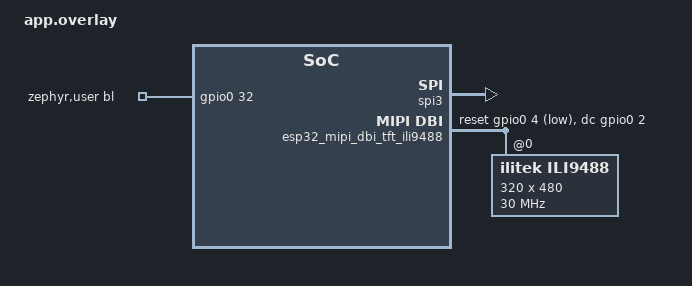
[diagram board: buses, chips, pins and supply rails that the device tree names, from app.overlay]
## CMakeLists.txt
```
cmake_minimum_required(VERSION 3.20.0)

# Add this line so we do not need to pass the board name again and again during build
set(BOARD doit_esp32_devkit_v1/esp32/procpu)

find_package(Zephyr)
project(esp32_spi_display)
target_sources(app PRIVATE src/main.c)
```

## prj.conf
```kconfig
CONFIG_SPI=y
CONFIG_GPIO=y
CONFIG_CONSOLE=y
CONFIG_SERIAL=y
CONFIG_PRINTK=y
CONFIG_DISPLAY=y
CONFIG_LOG=y
CONFIG_DISPLAY_LOG_LEVEL_DBG=n
```

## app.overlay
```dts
/*
 * Copyright (c) 2020 Teslabs Engineering S.L.
 *
 * SPDX-License-Identifier: Apache-2.0
 */


#include <zephyr/dt-bindings/display/panel.h>

&spi2 {
    status = "disabled";
};

&spi3 {
    pinctrl-0 = <&spim3_default>;
    pinctrl-names = "default";
    cs-gpios = <&gpio0 15 GPIO_ACTIVE_LOW>;
    status = "okay";
};


&{/} {
    zephyr,user {
        bl-gpios = <&gpio0 32 GPIO_ACTIVE_HIGH>;
    };

    esp32_mipi_dbi_tft_ili9488 {
        compatible = "zephyr,mipi-dbi-spi";
        
        dc-gpios =    <&gpio0 2 GPIO_ACTIVE_HIGH>;
        reset-gpios = <&gpio0 4 GPIO_ACTIVE_LOW>;
        spi-dev = <&spi3>;
        write-only;
        #address-cells = <1>;
        #size-cells = <0>;    
        
        ili9488: display@0 {
            compatible = "ilitek,ili9488";
            
            mipi-max-frequency = <30000000>;
            reg = <0>;
            pixel-format = <PANEL_PIXEL_FORMAT_RGB_888>;
            width = <320>;
            height = <480>;
            rotation = <0>;
            frmctr1 = [a0 11];
            pwctrl1 = [17 15];
            pwctrl2 = [41];
            pgamctrl = [00 03 09 08 16 0a 3f 78 4c 09 0a 08 16 1a 0f];
            ngamctrl = [00 16 19 03 0f 05 32 45 46 04 0e 0d 35 37 0f];
        };
    };    
};
```

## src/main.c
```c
/*
 * Copyright (c) Vivek Yadav <zephyr.ninja23@gmail.com>
 *
 * SPDX-License-Identifier: Apache-2.0
 */

/**********************************
| TFT           | Esp32           |
|---------------|-----------------|
| Vcc           | 3v              |
|---------------|-----------------|
| GND           | GND             |
|---------------|-----------------|
| CS            | D15             |
|---------------|-----------------|
| RESET         | D4              |
|---------------|-----------------|
| DC/RS         | D2              |
|---------------|-----------------|
| MOSI(6)       | D23             |
|---------------|-----------------|
| SCK           | D18             |
|---------------|-----------------|
| LED           | D32             |
|---------------|-----------------|
| MISO          |                 |
|---------------|-----------------|
| T_CLK         |                 |
|---------------|-----------------|
| T_CS          |                 |
|---------------|-----------------|
| T_DIN         |                 |
|---------------|-----------------|
| T_DO          |                 |
|---------------|-----------------|
| T_IRQ         |                 |
|---------------|-----------------|
|               |                 |
***********************************/

#include <stdio.h>
#include <string.h>
#include <zephyr/kernel.h>
#include <zephyr/device.h>
#include <zephyr/devicetree_generated.h>
#include <zephyr/sys/printk.h>
#include <zephyr/drivers/spi.h>
#include <zephyr/drivers/gpio.h>
#include <zephyr/drivers/display.h>
#include "image_320x480_bgr888_from_landscape.h"

/* Backlight GPIO from zephyr,user */
#define USER_NODE DT_PATH(zephyr_user)

#if DT_NODE_HAS_PROP(USER_NODE, bl_gpios)
static const struct gpio_dt_spec bl_gpio =
	GPIO_DT_SPEC_GET(USER_NODE, bl_gpios);
#endif

/* ILI9488 display node */
#define DISPLAY_NODE DT_NODELABEL(ili9488)

static void backlight_on(void)
{
#if DT_NODE_HAS_PROP(USER_NODE, bl_gpios)
	if (!gpio_is_ready_dt(&bl_gpio)) {
		printk("Backlight GPIO not ready\n");
		return;
	}

	gpio_pin_configure_dt(&bl_gpio, GPIO_OUTPUT_ACTIVE);
	gpio_pin_set_dt(&bl_gpio, 1);
#endif
}

int main(void)
{
	const struct device *display_dev;
	struct display_capabilities caps;

	printk("ILI9488 demo start\n");

	display_dev = DEVICE_DT_GET(DISPLAY_NODE);

	if (!device_is_ready(display_dev)) {
		printk("Display device not ready\n");
		return -ENODEV;
	}

	backlight_on();
    
	display_get_capabilities(display_dev, &caps);

	printk("Resolution: %ux%u\n",
	       caps.x_resolution,
	       caps.y_resolution);
	printk("Pixel Format: %u\n", caps.current_pixel_format);

	display_blanking_off(display_dev);

	/*
	 * Create a solid red screen.
	 * For RGB888 format:
	 * R = 0xFF
	 * G = 0x00
	 * B = 0x00
	 */
    
     /*framebuf is store into RAM (.bss) region */
	static uint8_t framebuf[320 * 20 * 3];

	for (size_t i = 0; i < sizeof(framebuf); i += 3) {
		framebuf[i + 0] = 0xFF; /* R */
		framebuf[i + 1] = 0x00; /* G */
		framebuf[i + 2] = 0x00; /* B */
	}
   
	struct display_buffer_descriptor desc = {
		.buf_size = sizeof(framebuf),
		.width = 320,
		.height = 20,
		.pitch = 320,
	};
    
	for (uint16_t y = 0; y < 480; y += 20) {
		display_write(display_dev, 0, y,
			      &desc, framebuf);
	}

	printk("Red screen displayed\n");
    
    k_sleep(K_SECONDS(3));

	struct display_buffer_descriptor desc_image = {
		.buf_size = sizeof(image_bgr888),
		.width    = IMAGE_WIDTH,
		.height   = IMAGE_HEIGHT,
		.pitch    = IMAGE_WIDTH,
	};

	display_write(display_dev, 0, 0, &desc_image, image_bgr888);

	while (1) {
		k_sleep(K_SECONDS(1));
	}

	return 0;
}
```
